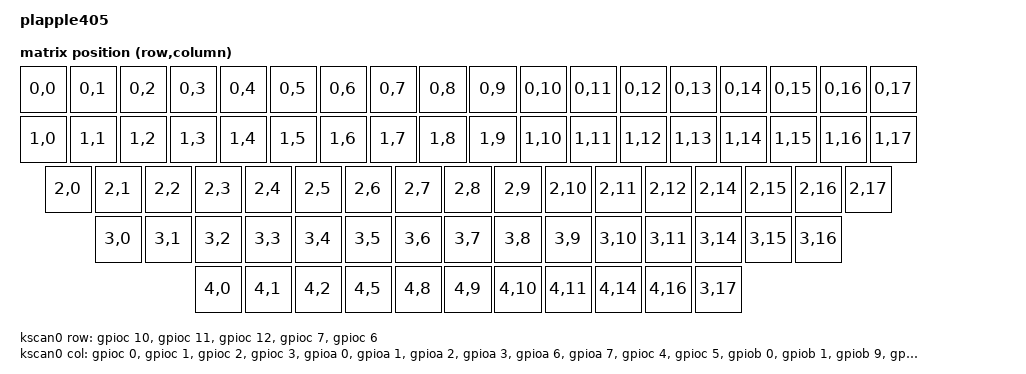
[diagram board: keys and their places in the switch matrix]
/*
 * Copyright (c) 2022 Martin Knobel
 *
 * SPDX-License-Identifier: MIT
 */

/dts-v1/;
#include <st/f4/stm32f405Xg.dtsi>
#include <st/f4/stm32f405rgtx-pinctrl.dtsi>
#include <dt-bindings/zmk/matrix_transform.h>

/ {
	model = "plapple405";
	compatible = "plapple,405", "st,stm32f405";

	chosen {
		zephyr,sram = &sram0;
		zephyr,flash = &flash0;
		zephyr,display = &oled;
		zmk,kscan = &kscan0;
		zmk,matrix_transform = &default_transform;
	};

	default_transform: keymap_transform_0 {
		compatible = "zmk,matrix-transform";
		columns = <18>;
		rows = <5>;
		map = <
RC(0,0) RC(0,1) RC(0,2) RC(0,3) RC(0,4) RC(0,5) RC(0,6) RC(0,7) RC(0,8) RC(0,9) RC(0,10) RC(0,11) RC(0,12)     RC(0,13)		RC(0,14) RC(0,15) RC(0,16) RC(0,17)
RC(1,0)   RC(1,1) RC(1,2) RC(1,3) RC(1,4) RC(1,5) RC(1,6) RC(1,7) RC(1,8) RC(1,9) RC(1,10) RC(1,11) RC(1,12)   RC(1,13)		RC(1,14) RC(1,15) RC(1,16) RC(1,17)
RC(2,0)     RC(2,1) RC(2,2) RC(2,3) RC(2,4) RC(2,5) RC(2,6) RC(2,7) RC(2,8) RC(2,9) RC(2,10) RC(2,11)          RC(2,12)		RC(2,14) RC(2,15) RC(2,16) RC(2,17)
RC(3,0)       RC(3,1) RC(3,2) RC(3,3) RC(3,4) RC(3,5) RC(3,6) RC(3,7) RC(3,8) RC(3,9)    RC(3,10)              RC(3,11)		RC(3,14) RC(3,15) RC(3,16) 
RC(4,0)   RC(4,1)   RC(4,2)                      RC(4,5)                RC(4,8)   RC(4,9)   RC(4,10)           RC(4,11)		RC(4,14)		  RC(4,16) RC(3,17)
		>;
	};

	kscan0: kscan {
		compatible = "zmk,kscan-gpio-matrix";
		label = "KSCAN";

		diode-direction = "col2row";
		row-gpios
			= <&gpioc 10 (GPIO_ACTIVE_HIGH | GPIO_PULL_DOWN)>
			, <&gpioc 11 (GPIO_ACTIVE_HIGH | GPIO_PULL_DOWN)>
			, <&gpioc 12 (GPIO_ACTIVE_HIGH | GPIO_PULL_DOWN)>
			, <&gpioc 7 (GPIO_ACTIVE_HIGH | GPIO_PULL_DOWN)>
			, <&gpioc 6 (GPIO_ACTIVE_HIGH | GPIO_PULL_DOWN)>
			;
		col-gpios
			= <&gpioc 0 GPIO_ACTIVE_HIGH>
			, <&gpioc 1 GPIO_ACTIVE_HIGH>
			, <&gpioc 2 GPIO_ACTIVE_HIGH>
			, <&gpioc 3 GPIO_ACTIVE_HIGH>
			, <&gpioa 0 GPIO_ACTIVE_HIGH>
			, <&gpioa 1  GPIO_ACTIVE_HIGH>
			, <&gpioa 2  GPIO_ACTIVE_HIGH>
			, <&gpioa 3  GPIO_ACTIVE_HIGH>
			, <&gpioa 6  GPIO_ACTIVE_HIGH>
			, <&gpioa 7  GPIO_ACTIVE_HIGH>
			, <&gpioc 4  GPIO_ACTIVE_HIGH>
			, <&gpioc 5  GPIO_ACTIVE_HIGH>
			, <&gpiob 0  GPIO_ACTIVE_HIGH>
			, <&gpiob 1  GPIO_ACTIVE_HIGH>
			, <&gpiob 9  GPIO_ACTIVE_HIGH>
			, <&gpioc 13  GPIO_ACTIVE_HIGH>
			, <&gpioc 14  GPIO_ACTIVE_HIGH>
			, <&gpioc 15  GPIO_ACTIVE_HIGH>
			;
	};

};

&clk_hse{
	clock-frequency = <DT_FREQ_M(8)>;
	status = "okay";
};

&pll {
	div-m=<8>;
	mul-n = <336>;
	div-p = <2>;
	div-q = <7>;
	clocks = <&clk_hse>;
	status = "okay";
};

&rcc {
	clocks = <&pll>;
	clock-frequency = <DT_FREQ_M(168)>;
	ahb-prescaler = <1>;
	apb1-prescaler = <4>;
	apb2-prescaler = <2>;
};


&i2c2 {
	pinctrl-0 = <&i2c2_scl_pb10 &i2c2_sda_pb11>;
	status = "okay";
	clock-frequency = <I2C_BITRATE_FAST>;


	oled: ssd1306@3c{
		compatible = "solomon,ssd1306fb";
		reg = <0x3c>;
		label = "SSD1306";
		width = <128>;
		height = <32>;		
		segment-offset = <0>;
		page-offset = <0>;
		display-offset = <0>;
		multiplex-ratio = <31>;
		segment-remap;
		com-invdir;
		com-sequential;
		prechargep = <0x22>;
	};
};


&usbotg_fs {
	pinctrl-0 = <&usb_otg_fs_dm_pa11 &usb_otg_fs_dp_pa12>;
	status = "okay";
};

&flash0 {
	/*
	 * For more information, see:
	 * http://docs.zephyrproject.org/latest/guides/dts/index.html#flash-partitions
	 */
	partitions {
		compatible = "fixed-partitions";
		#address-cells = <1>;
		#size-cells = <1>;

		/* Set 6Kb of storage at the end of the 256Kb of flash */
		storage_partition: partition@3e800 {
			label = "storage";
			reg = <0x0003e800 0x00001800>;
		};
	};
};
